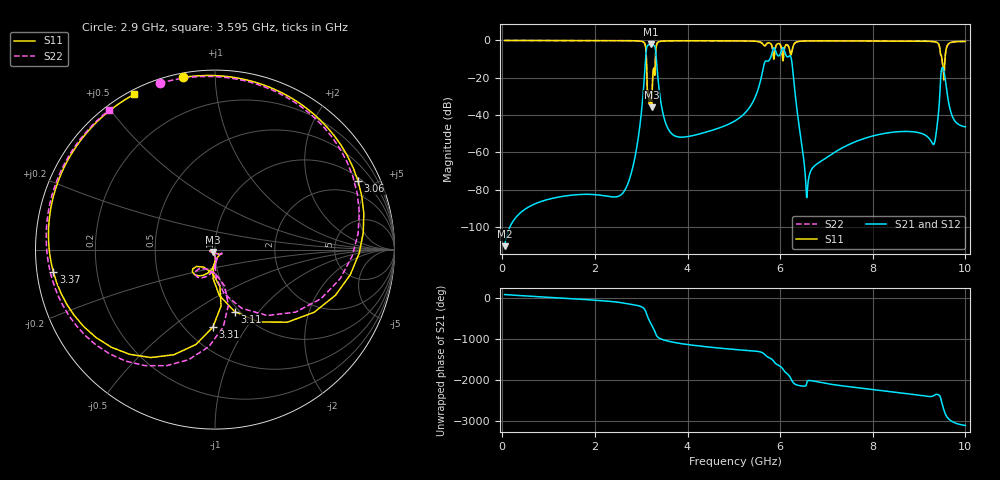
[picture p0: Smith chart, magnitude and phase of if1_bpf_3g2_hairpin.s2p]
! kicad2ems mom25d 2.5D MoM (bpf)
! ports: 1=P1, 2=P2
# Hz S RI R 50
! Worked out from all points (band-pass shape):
!   1991 points, 50 MHz to 10 GHz, reference 50 ohm
!   highest |S21| = -2.12 dB at 3.21 GHz (marker M1); lowest = -110.3 dB at 50 MHz (marker M2)
!   |S21| within 3 dB of the highest: 3.11 GHz to 3.309 GHz (198.8 MHz wide, 6.2 % of centre); 6.033 GHz to 6.087 GHz (54.01 MHz wide, 0.891 % of centre)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
!   lowest |S11| = -35.8 dB at 3.225 GHz (marker M3), VSWR 1.03, Z = 48.9 - j1.22 ohm
!   |S11| at or under -10 dB: 3.112 GHz to 3.305 GHz (193.1 MHz wide, 6.02 % of centre); 6.054322 GHz to 6.067381 GHz (13.06 MHz wide, 0.215 % of centre); 9.494 GHz to 9.559 GHz (65.39 MHz wide, 0.686 % of centre)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
!   |S22| runs from -34.1 to 0.0 dB; largest |S21 - S12| = 3.5e-06
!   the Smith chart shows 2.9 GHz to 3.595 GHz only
!   S11 on the Smith chart (normalised r, x): 2.9 GHz: 0.02, +0.83; 3.06 GHz: 1.17, +4.08; 3.11 GHz: 0.95, -0.76; 3.31 GHz: 0.67, -0.71; 3.37 GHz: 0.05, -0.07; 3.595 GHz: 0.02, +0.61
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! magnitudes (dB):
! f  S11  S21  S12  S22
! 50 MHz  0.0  -110.3  -110.3  0.0
! 1.71 GHz  0.0  -82.5  -82.5  0.0
! 2.64 GHz  -0.1  -80.5  -80.5  -0.1
! 2.9 GHz  -0.2  -57.9  -57.9  -0.2
! 3.06 GHz  -1.1  -22.4  -22.4  -1.1
! 3.11 GHz  -8.8  -5.1  -5.1  -8.9
! 3.21 GHz  -31.1  -2.1  -2.1  -30.5
! 3.225 GHz  -35.8  -2.1  -2.1  -33.8
! 3.31 GHz  -7.3  -5.4  -5.4  -7.3
! 3.37 GHz  -0.8  -22.5  -22.5  -0.8
! 3.595 GHz  -0.2  -48.0  -48.0  -0.2
! 5.025 GHz  -0.2  -43.1  -43.1  -0.2
! 5.85 GHz  -7.4  -4.4  -4.4  -7.3
! 6.07 GHz  -9.4  -4.0  -4.0  -9.1
! 6.25 GHz  -6.4  -11.1  -11.1  -6.6
! 6.56 GHz  -0.3  -79.3  -79.3  -0.3
! 6.685 GHz  -0.2  -68.8  -68.8  -0.2
! 8.345 GHz  -0.3  -49.5  -49.5  -0.3
! 9.31 GHz  -0.6  -55.8  -55.8  -0.6
! 9.515 GHz  -13.6  -14.7  -14.7  -13.9
! 9.72 GHz  -0.9  -40.8  -40.8  -0.9
! 10 GHz  -0.5  -46.3  -46.3  -0.5
